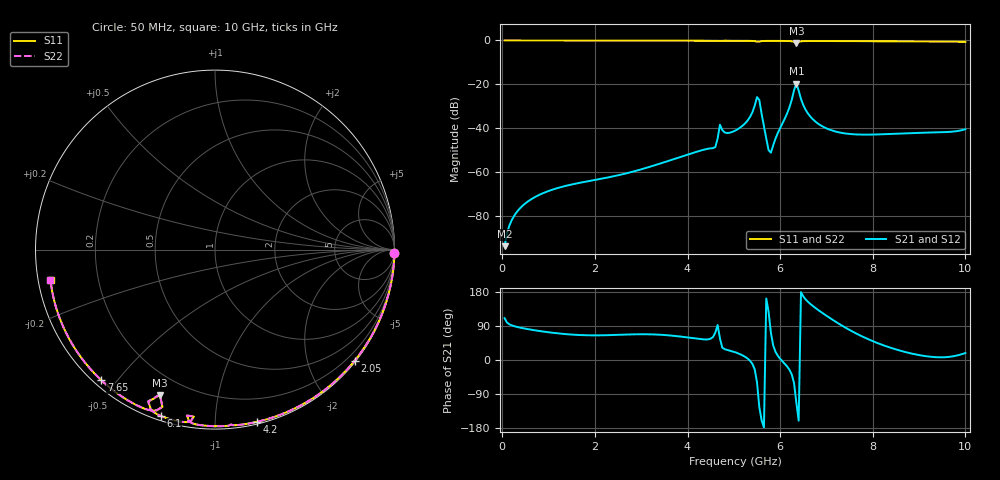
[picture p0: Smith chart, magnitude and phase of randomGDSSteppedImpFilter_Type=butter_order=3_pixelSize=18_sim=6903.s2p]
! freq	dB(S11)	phase(S11)	dB(S12)	phase(S12)
!  dB(S21)	phase(S21)	dB(S22)	phase(S22)
!S-par simulation data
#  GHz  S  DB  R 50
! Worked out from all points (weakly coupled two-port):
!   200 points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, 50 MHz to 10 GHz, reference 50 ohm
!   highest |S21| = -19.58 dB at 6.35 GHz (marker M1); lowest = -93.5 dB at 50 MHz (marker M2)
!   lowest |S11| = -1.2 dB at 6.35 GHz (marker M3), VSWR 14.04, Z = 5.24 - j34.2 ohm
!   |S11| at or under -10 dB: nowhere
!   |S22| runs from -1.3 to 0.0 dB; largest |S21 - S12| = 0
!   S11 on the Smith chart (normalised r, x): 50 MHz: open; 2.05 GHz: 0.03, -2.86; 4.2 GHz: 0.02, -1.27; 6.1 GHz: 0.02, -0.73; 7.65 GHz: 0.02, -0.46; 10 GHz: 0.04, -0.09
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0.05  -0.00 -1.0  -93.48 110.5  -93.48 110.5  -0.00 -1.0
0.85  -0.02 -16.2  -69.66 75.6  -69.66 75.6  -0.02 -16.2
1.75  -0.04 -33.0  -64.37 65.5  -64.37 65.5  -0.04 -33.0
2.05  -0.05 -38.5  -63.19 65.0  -63.19 65.0  -0.05 -38.5
3.4  -0.08 -62.7  -56.00 66.7  -56.00 66.7  -0.08 -62.7
4.2  -0.11 -76.4  -50.56 56.2  -50.56 56.2  -0.11 -76.5
4.6  -0.13 -83.3  -48.45 72.1  -48.45 72.1  -0.13 -83.4
4.7  -0.19 -84.7  -38.30 57.0  -38.30 57.0  -0.19 -84.8
4.8  -0.14 -86.4  -41.79 28.6  -41.79 28.6  -0.14 -86.5
5.05  -0.14 -90.7  -40.74 19.6  -40.74 19.6  -0.14 -90.8
5.35  -0.18 -96.2  -34.74 -2.1  -34.74 -2.1  -0.18 -96.3
5.5  -0.55 -99.5  -25.75 -58.8  -25.75 -58.8  -0.56 -99.6
5.55  -0.56 -97.2  -27.08 -124.2  -27.08 -124.2  -0.57 -97.2
5.75  -0.20 -101.4  -49.85 127.5  -49.85 127.5  -0.20 -101.5
5.8  -0.19 -102.3  -51.01 72.2  -51.01 72.2  -0.19 -102.4
6.1  -0.22 -108.0  -35.52 -10.1  -35.52 -10.1  -0.22 -108.1
6.35  -1.24 -110.8  -19.58 -112.8  -19.58 -112.8  -1.27 -110.9
6.5  -0.32 -111.4  -29.40 167.8  -29.40 167.8  -0.33 -111.4
6.7  -0.26 -115.5  -35.69 143.1  -35.69 143.1  -0.26 -115.6
7.65  -0.31 -131.0  -42.71 69.5  -42.71 69.5  -0.31 -131.1
8.35  -0.38 -142.0  -42.51 33.7  -42.51 33.7  -0.38 -142.2
10  -0.61 -169.4  -40.36 18.5  -40.36 18.5  -0.61 -169.6
